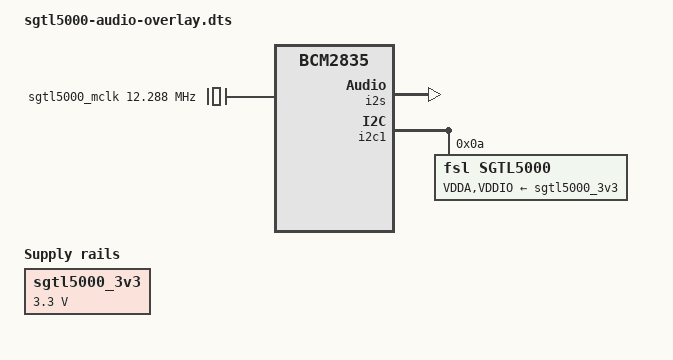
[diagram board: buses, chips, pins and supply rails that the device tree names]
/dts-v1/;
/plugin/;

/ {
	compatible = "brcm,bcm2708", "brcm,bcm2835";

	fragment@0 {
		target-path = "/";
		__overlay__ {
			sgtl5000_3v3: sgtl5000_3v3 {
				compatible = "regulator-fixed";
				regulator-name = "sgtl5000-3v3";
				regulator-min-microvolt = <3300000>;
				regulator-max-microvolt = <3300000>;
				regulator-always-on;
				regulator-boot-on;
			};
		};
	};

	fragment@1 {
		target-path = "/";
		__overlay__ {
			sgtl5000_mclk: sgtl5000_mclk {
				compatible = "fixed-clock";
				#clock-cells = <0>;
				clock-frequency = <12288000>;
			};
		};
	};

	fragment@2 {
		target = <&i2s>;
		__overlay__ {
			status = "okay";
		};
	};

	fragment@3 {
		target = <&i2c1>;
		__overlay__ {
			#address-cells = <1>;
			#size-cells = <0>;
			status = "okay";

			sgtl5000: codec@a {
				compatible = "fsl,sgtl5000";
				reg = <0x0a>;
				#sound-dai-cells = <0>;
				clocks = <&sgtl5000_mclk>;
				VDDA-supply = <&sgtl5000_3v3>;
				VDDIO-supply = <&sgtl5000_3v3>;
				status = "okay";
			};
		};
	};

	fragment@4 {
		target-path = "/";
		__overlay__ {
			sound {
				compatible = "simple-audio-card";
				simple-audio-card,name = "cm3-sgtl5000";
				simple-audio-card,format = "i2s";
				simple-audio-card,bitclock-master = <&codec_master>;
				simple-audio-card,frame-master = <&codec_master>;
				status = "okay";

				simple-audio-card,cpu {
					sound-dai = <&i2s>;
				};

				codec_master: simple-audio-card,codec {
					sound-dai = <&sgtl5000>;
				};
			};
		};
	};
};
